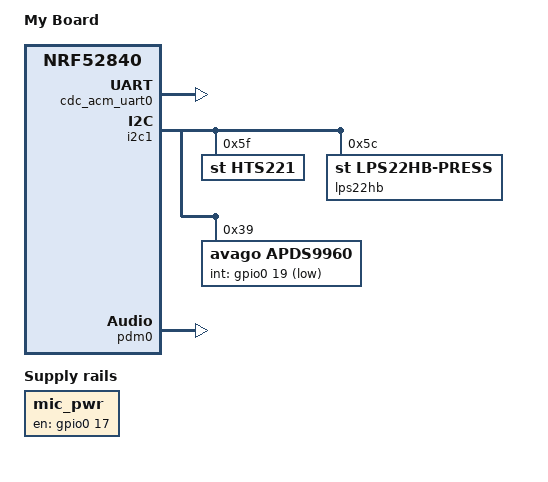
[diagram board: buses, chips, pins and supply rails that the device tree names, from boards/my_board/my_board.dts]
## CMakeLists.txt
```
# SPDX-License-Identifier: Apache-2.0

cmake_minimum_required(VERSION 3.20.0)
list(APPEND BOARD_ROOT ${CMAKE_CURRENT_SOURCE_DIR})
find_package(Zephyr REQUIRED HINTS $ENV{ZEPHYR_BASE})
project(hello_world)

target_sources(app PRIVATE src/main.cpp)
```

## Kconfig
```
#------------first example-------------------------#

#config BLINK_SLEEP_TIME_MS
#        int "LED prompt"
#        default 1000
#        range 100 5000
#        help
#            help string for user can be multiline
#            like this!! This is just a demo

#source "Kconfig.zephyr"


#---------second example----------------------------#

#choice 
#    prompt "LED Blink Speed"
#    default BLINK_SLEEP_TIME_1000MS
#config BLINK_SLEEP_TIME_250MS
#    bool "Fast (250ms)"
#config BLINK_SLEEP_TIME_1000MS
#    bool "Medium (1s)"
#config BLINK_SLEEP_TIME_2000MS
#    bool "Slow (2s)"    
#
#endchoice

#config BLINK_SLEEP_TIME_MS
#        int 
#        default 250 if BLINK_SLEEP_TIME_250MS
#        default 1000 if BLINK_SLEEP_TIME_1000MS
#        default 2000 if BLINK_SLEEP_TIME_2000MS
#        default 0
#source "Kconfig.zephyr"


#------------Homework l3-task1 -------------------------#

#menuconfig LED_SUBSYSTEM
#    bool "LED Subsystem"
#    default y

#    if LED_SUBSYSTEM
#        choice 
#            prompt "LED Blink sleep time"
#            default BLINK_SLEEP_TIME_1000MS
#            config BLINK_SLEEP_TIME_250MS
#            bool "Very Fast (250ms)"
#            config BLINK_SLEEP_TIME_500MS
#            bool "Fast (500ms)"
#            config BLINK_SLEEP_TIME_1000MS
#            bool "Medium (1s)"
#            config BLINK_SLEEP_TIME_2000MS
#            bool "Slow (2s)"    

#        endchoice
#        config BLINK_SLEEP_TIME_MS
#            int 
#            default 250 if BLINK_SLEEP_TIME_250MS
#            default 500 if BLINK_SLEEP_TIME_500MS
#            default 1000 if BLINK_SLEEP_TIME_1000MS
#            default 2000 if BLINK_SLEEP_TIME_2000MS
#            default 0 #okay
   
#        menuconfig ADVANCED_LED_SETTINGS
#            bool "Advanced LED settings"
#            default y

#            if ADVANCED_LED_SETTINGS
#                config LED_BRIGHTNESS
#                    int "LED brightness(0-100)"
#                    range 0 100
#                    default 100
#                config LED_FADE_DURATION
#                    int "LED fade duration(ms)"
#                    range 0 5000
#                    default 500
                
#                menu "EXPERT_SETTINGS" 
#                    visible if LED_BRIGHTNESS!=0
#                    config LED_DEBUG
#                        bool "Enable LED debugging"
#                        default y
#                    config CUSTOM_LED_BLINK_PATTERN
#                        bool "Enable custom blink pattern"
#                        default y
#                endmenu
#            endif #AdvancedLEDsettings
#     endif #LEDSUBSYSTEM

#----------------------Homework L4 task 1------------------------------------------#

#menuconfig HEARTBEAT_LED
#    bool "Heartbeat LED"
#    default y
#    if HEARTBEAT_LED
#        config APP_HEARTBEAT_PERIOD_MS
#            int "LED pulsing speed (ms)"
#            default 500
#            range 100 2000
#    endif
source "Kconfig.zephyr"
```

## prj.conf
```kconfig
#CONFIG_CPP=y
#CONFIG_REQUIRES_FULL_LIBCPP=y
#CONFIG_GPIO=y
CONFIG_LOG=y
CONFIG_STDOUT_CONSOLE=y
CONFIG_PRINTK=y
```

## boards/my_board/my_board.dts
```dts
/*
 * Copyright (c) 2020 Jefferson Lee
 *
 * SPDX-License-Identifier: Apache-2.0
 */
/dts-v1/;
#include <nordic/nrf52840_qiaa.dtsi>
#include "arduino_nano_33_ble-common.dtsi"
#include "arduino_nano_33_ble-pinctrl.dtsi"
#include "arduino_nano_connector.dtsi"

/ {
	model = "My Board";
	compatible = "neil,my_board";
	chosen {
		zephyr,flash = &flash0;
		zephyr,sram = &sram0;
		zephyr,console = &cdc_acm_uart0;
		zephyr,shell-uart = &cdc_acm_uart0;
	};
	mic_pwr: mic_pwr {
		compatible = "regulator-fixed";
		regulator-name = "mic_pwr";
		enable-gpios = <&gpio0 17 GPIO_ACTIVE_HIGH>;
		regulator-boot-on;
	};
};

&zephyr_udc0 {
    cdc_acm_uart0: cdc_acm_uart0 {
        compatible = "zephyr,cdc-acm-uart";
    };
};

&i2c1 {
	hts221: hts221@5f {
		compatible = "st,hts221";
		status = "okay";
		reg = <0x5f>;
	};

	lps22hb: lps22hb-press@5c {
		compatible = "st,lps22hb-press";
		status = "okay";
		reg = <0x5c>;
	};

	apds9960: apds9960@39 {
		compatible = "avago,apds9960";
		status = "okay";
		reg = <0x39>;
		int-gpios = <&gpio0 19 (GPIO_ACTIVE_LOW | GPIO_PULL_UP)>;
	};
};

dmic_dev: &pdm0 {
	status = "okay";
	pinctrl-0 = <&pdm0_default>;
	pinctrl-1 = <&pdm0_sleep>;
	pinctrl-names = "default", "sleep";
	clock-source = "PCLK32M_HFXO";
};
```

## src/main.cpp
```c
/*
 * Copyright (c) 2023, Meta
 *
 * SPDX-License-Identifier: Apache-2.0
 */

//#include <iostream>
#include <zephyr/kernel.h>
#include <zephyr/usb/usb_device.h>
#include <zephyr/drivers/uart.h>
int main(void)
{
 
	const struct device *usb_dev = DEVICE_DT_GET(DT_CHOSEN(zephyr_console));

   if (usb_enable(NULL) != 0) {
      return -1;
    }

    /* Wait for DTR signal — host serial monitor has connected */
    uint32_t dtr = 0;
    while (!dtr) {
        uart_line_ctrl_get(usb_dev, UART_LINE_CTRL_DTR, &dtr);
        k_sleep(K_MSEC(100));
    }
	//std::cout << "Hello, C++ world! " << CONFIG_BOARD << std::endl;
	printk("Hello, C++ world! %s\n", CONFIG_BOARD);	
	return 0;
}
```
